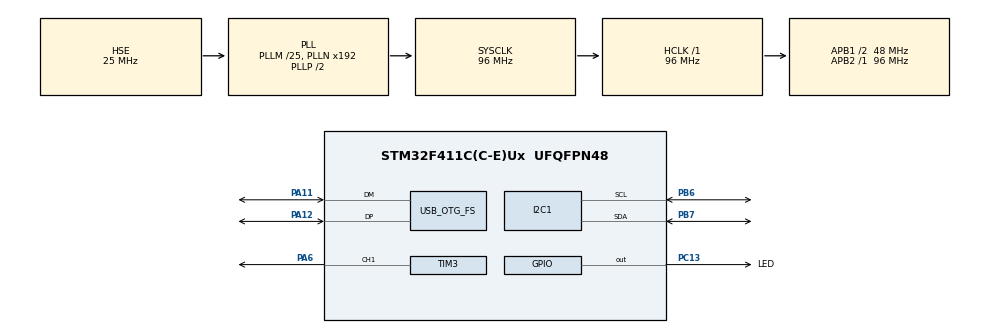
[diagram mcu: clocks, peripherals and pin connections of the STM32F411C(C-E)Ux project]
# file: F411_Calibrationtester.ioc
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I2C1.I2C_Mode=I2C_Standard
Mcu.Family=STM32F4
Mcu.Name=STM32F411C(C-E)Ux
Mcu.Package=UFQFPN48
NVIC.OTG_FS_IRQn=true\:0\:0\:false\:false\:true\:false\:true\:true
NVIC.PriorityGroup=NVIC_PRIORITYGROUP_4
PA11.Mode=Device_Only
PA11.Signal=USB_OTG_FS_DM
PA12.Mode=Device_Only
PA12.Signal=USB_OTG_FS_DP
PA13.Mode=Serial_Wire
PA13.Signal=SYS_JTMS-SWDIO
PA14.Mode=Serial_Wire
PA14.Signal=SYS_JTCK-SWCLK
PA6.Signal=S_TIM3_CH1
PB6.Mode=I2C
PB6.Signal=I2C1_SCL
PB7.Mode=I2C
PB7.Signal=I2C1_SDA
PC13-ANTI_TAMP.GPIO_Label=LED
PC13-ANTI_TAMP.Signal=GPIO_Output
PH0\ -\ OSC_IN.Mode=HSE-External-Oscillator
PH0\ -\ OSC_IN.Signal=RCC_OSC_IN
PH1\ -\ OSC_OUT.Mode=HSE-External-Oscillator
PH1\ -\ OSC_OUT.Signal=RCC_OSC_OUT
ProjectManager.HeapSize=0x200
ProjectManager.StackSize=0x400
ProjectManager.TargetToolchain=STM32CubeIDE
RCC.48MHZClocksFreq_Value=48000000
RCC.AHBFreq_Value=96000000
RCC.APB1CLKDivider=RCC_HCLK_DIV2
RCC.APB1Freq_Value=48000000
RCC.APB1TimFreq_Value=96000000
RCC.APB2Freq_Value=96000000
RCC.APB2TimFreq_Value=96000000
RCC.CortexFreq_Value=96000000
RCC.HCLKFreq_Value=96000000
RCC.HSE_VALUE=25000000
RCC.HSI_VALUE=16000000
RCC.LSE_VALUE=32768
RCC.PLLM=25
RCC.SYSCLKFreq_VALUE=96000000
RCC.SYSCLKSource=RCC_SYSCLKSOURCE_PLLCLK
RCC.VCOOutputFreq_Value=192000000
SH.S_TIM3_CH1.0=TIM3_CH1,PWM Generation1 CH1
TIM3.Channel-PWM\ Generation1\ CH1=TIM_CHANNEL_1
TIM3.OCPolarity_1=TIM_OCPOLARITY_HIGH
TIM3.Period=40000-1
TIM3.Prescaler=48-1
TIM3.Pulse-PWM\ Generation1\ CH1=4915-1
USB_DEVICE.CLASS_NAME_FS=CDC
USB_DEVICE.VirtualMode=Cdc
USB_DEVICE.VirtualModeFS=Cdc_FS
USB_OTG_FS.VirtualMode=Device_Only
VP_TIM3_VS_ClockSourceINT.Mode=Internal
VP_USB_DEVICE_VS_USB_DEVICE_CDC_FS.Mode=CDC_FS
board=custom

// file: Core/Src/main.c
/* USER CODE BEGIN Header */
/**
 ******************************************************************************
 * @file           : main.c
 * @brief          : Main program body
 ******************************************************************************
 * @attention
 *
 * Copyright (c) 2024 STMicroelectronics.
 * All rights reserved.
 *
 * This software is licensed under terms that can be found in the LICENSE file
 * in the root directory of this software component.
 * If no LICENSE file comes with this software, it is provided AS-IS.
 *
 ******************************************************************************
 */
/* USER CODE END Header */
#include "main.h"
#include "usb_device.h"

/* USER CODE BEGIN Includes */

#include "string.h"
#include "usbd_cdc_if.h"
//#include "as5600.h"

/* USER CODE END Includes */

/* USER CODE BEGIN PD */

#define AS5600ADRESS 0x36
#define AS5600RAWANGLE 0x0C
#define AS5600MAGNITUDE 0x0D

#define BASEK 11.1111111f
#define BASED 3000.0f

#define CALIBK 1.0f
#define CALIBD 0.0f

/* USER CODE END PD */

I2C_HandleTypeDef hi2c1;

TIM_HandleTypeDef htim3;

/* USER CODE BEGIN PV */

uint16_t num_steps = 20;
uint8_t check_bothsides = 1;
float angle1 = -135.0f;
float angle2 = 135.0f;

float *angles;
uint16_t *readValues;
float *readAngles;

/* USER CODE END PV */

void SystemClock_Config(void);
static void MX_GPIO_Init(void);
static void MX_I2C1_Init(void);
static void MX_TIM3_Init(void);

/* USER CODE BEGIN 0 */
void findRightMagnitude() {
	HAL_GPIO_WritePin(LED_GPIO_Port, LED_Pin, GPIO_PIN_SET);
	uint8_t found = 0;
	uint16_t foundcounter = 0;
	uint16_t treshholdcounter = 10;
	uint16_t minvalue = 5;
	uint16_t maxvalue = 4091;
	while (found != 1) {
		uint16_t tempbuffer = 0;
		HAL_I2C_Mem_Read(&hi2c1, AS5600ADRESS, AS5600MAGNITUDE, I2C_MEMADD_SIZE_8BIT, (uint8_t*)&tempbuffer, 2, HAL_MAX_DELAY);
		tempbuffer = tempbuffer & 0x0FFF;
		if(tempbuffer >= minvalue && tempbuffer <= maxvalue) {
			foundcounter++;
			if(foundcounter >= 3) {
				HAL_GPIO_WritePin(LED_GPIO_Port, LED_Pin, GPIO_PIN_RESET);
			}
			if(foundcounter >= treshholdcounter) {
				found = 1;
			}
		} else {
			HAL_GPIO_WritePin(LED_GPIO_Port, LED_Pin, GPIO_PIN_SET);
			foundcounter = 0;
		}
		HAL_Delay(100);
	}
	HAL_GPIO_WritePin(LED_GPIO_Port, LED_Pin, GPIO_PIN_RESET);
}
uint16_t readAngle() {
	uint16_t tempbuffer = 0;
	HAL_I2C_StateTypeDef tempstatus = HAL_I2C_STATE_ERROR;
	while (tempstatus != HAL_I2C_STATE_READY) {
		tempstatus = HAL_I2C_Mem_Read(&hi2c1, AS5600ADRESS, AS5600RAWANGLE, I2C_MEMADD_SIZE_8BIT, (uint8_t*)&tempbuffer, 2, HAL_MAX_DELAY);
	}
	tempbuffer = tempbuffer & 0x0FFF;
	//	uint16_t value = (tempbuffer[0] << 8) | tempbuffer[1];

	return tempbuffer;
}

float rawAngleToDegrees(uint16_t rawAngle) {
	return (float)rawAngle * 360.0f / 4096.0f;
}

uint16_t getCCRforAngle(float angle) {
	float tempCCR = angle * BASEK + BASED + 0.5f;

	tempCCR = tempCCR * CALIBK + CALIBD + 0.5f;

	return (uint16_t)(tempCCR);
}

void setAngle(float newAngle) {
	htim3.Instance->CCR1 = getCCRforAngle(newAngle);
}

/* USER CODE END 0 */

int main(void)
{

	/* MCU Configuration--------------------------------------------------------*/

	/* Reset of all peripherals, Initializes the Flash interface and the Systick. */
	HAL_Init();

	/* Configure the system clock */
	SystemClock_Config();

	/* Initialize all configured peripherals */
	MX_GPIO_Init();
	MX_I2C1_Init();
	MX_TIM3_Init();
	MX_USB_DEVICE_Init();
	/* USER CODE BEGIN 2 */

	HAL_GPIO_WritePin(LED_GPIO_Port, LED_Pin, GPIO_PIN_SET);

	findRightMagnitude();

	HAL_TIM_PWM_Start(&htim3, TIM_CHANNEL_1);

	if (check_bothsides == 1) {
		angles = malloc(sizeof(float) * num_steps * 2 - 1);
		readValues = malloc(sizeof(uint16_t) * num_steps * 2 - 1);
		readAngles = malloc(sizeof(float) * num_steps * 2 - 1);
	} else {
		angles = malloc(sizeof(float) * num_steps);
		readValues = malloc(sizeof(uint16_t) * num_steps);
		readAngles = malloc(sizeof(float) * num_steps);
	}

	float minangle = angle1;
	float maxangle = angle2;
	if (angle1 > angle2) {
		minangle = angle2;
		maxangle = angle1;
	}

	for(uint16_t i=0; i<num_steps; i++) {
		angles[i] = minangle + i * (maxangle - minangle) / (num_steps-1);
	}
	if (check_bothsides == 1) {
		for(uint16_t i=1; i<num_steps; i++) {
			angles[num_steps + i -1] = minangle + (num_steps - 1 - i) * (maxangle - minangle) / (num_steps-1);
		}
	}

	setAngle(minangle);
	HAL_Delay(3000);

	uint16_t laststep = num_steps;
	if (check_bothsides == 1) {
		laststep = laststep * 2 - 1;
	}
	for(uint16_t i=0; i<laststep; i++) {
		setAngle(angles[i]);
		HAL_Delay(500);
		readValues[i] = readAngle();
		readAngles[i] = rawAngleToDegrees(readValues[i]);
	}

	uint8_t buffer[500] = {0};
	char tempbuffer[20];
	for(uint16_t i=0; i<laststep; i++) {
		sprintf(tempbuffer, "%.1f,%d,%.2f\n", angles[i], readValues[i], readAngles[i]);
		strcat((char*)buffer, tempbuffer);
	}

	CDC_Transmit_FS(buffer, strlen((char*)buffer));

	/* USER CODE END 2 */

	/* Infinite loop */
	while (1)
	{

	}
}

void SystemClock_Config(void)
{
	RCC_OscInitTypeDef RCC_OscInitStruct = {0};
	RCC_ClkInitTypeDef RCC_ClkInitStruct = {0};

	/** Configure the main internal regulator output voltage
	 */
	__HAL_RCC_PWR_CLK_ENABLE();
	__HAL_PWR_VOLTAGESCALING_CONFIG(PWR_REGULATOR_VOLTAGE_SCALE1);

	/** Initializes the RCC Oscillators according to the specified parameters
	 * in the RCC_OscInitTypeDef structure.
	 */
	RCC_OscInitStruct.OscillatorType = RCC_OSCILLATORTYPE_HSE;
	RCC_OscInitStruct.HSEState = RCC_HSE_ON;
	RCC_OscInitStruct.PLL.PLLState = RCC_PLL_ON;
	RCC_OscInitStruct.PLL.PLLSource = RCC_PLLSOURCE_HSE;
	RCC_OscInitStruct.PLL.PLLM = 25;
	RCC_OscInitStruct.PLL.PLLN = 192;
	RCC_OscInitStruct.PLL.PLLP = RCC_PLLP_DIV2;
	RCC_OscInitStruct.PLL.PLLQ = 4;
	if (HAL_RCC_OscConfig(&RCC_OscInitStruct) != HAL_OK)
	{
		Error_Handler();
	}

	/** Initializes the CPU, AHB and APB buses clocks
	 */
	RCC_ClkInitStruct.ClockType = RCC_CLOCKTYPE_HCLK|RCC_CLOCKTYPE_SYSCLK
			|RCC_CLOCKTYPE_PCLK1|RCC_CLOCKTYPE_PCLK2;
	RCC_ClkInitStruct.SYSCLKSource = RCC_SYSCLKSOURCE_PLLCLK;
	RCC_ClkInitStruct.AHBCLKDivider = RCC_SYSCLK_DIV1;
	RCC_ClkInitStruct.APB1CLKDivider = RCC_HCLK_DIV2;
	RCC_ClkInitStruct.APB2CLKDivider = RCC_HCLK_DIV1;

	if (HAL_RCC_ClockConfig(&RCC_ClkInitStruct, FLASH_LATENCY_3) != HAL_OK)
	{
		Error_Handler();
	}
}

static void MX_I2C1_Init(void)
{

	hi2c1.Instance = I2C1;
	hi2c1.Init.ClockSpeed = 100000;
	hi2c1.Init.DutyCycle = I2C_DUTYCYCLE_2;
	hi2c1.Init.OwnAddress1 = 0;
	hi2c1.Init.AddressingMode = I2C_ADDRESSINGMODE_7BIT;
	hi2c1.Init.DualAddressMode = I2C_DUALADDRESS_DISABLE;
	hi2c1.Init.OwnAddress2 = 0;
	hi2c1.Init.GeneralCallMode = I2C_GENERALCALL_DISABLE;
	hi2c1.Init.NoStretchMode = I2C_NOSTRETCH_DISABLE;
	if (HAL_I2C_Init(&hi2c1) != HAL_OK)
	{
		Error_Handler();
	}

}

static void MX_TIM3_Init(void)
{

	TIM_ClockConfigTypeDef sClockSourceConfig = {0};
	TIM_MasterConfigTypeDef sMasterConfig = {0};
	TIM_OC_InitTypeDef sConfigOC = {0};

	htim3.Instance = TIM3;
	htim3.Init.Prescaler = 48-1;
	htim3.Init.CounterMode = TIM_COUNTERMODE_UP;
	htim3.Init.Period = 40000-1;
	htim3.Init.ClockDivision = TIM_CLOCKDIVISION_DIV1;
	htim3.Init.AutoReloadPreload = TIM_AUTORELOAD_PRELOAD_DISABLE;
	if (HAL_TIM_Base_Init(&htim3) != HAL_OK)
	{
		Error_Handler();
	}
	sClockSourceConfig.ClockSource = TIM_CLOCKSOURCE_INTERNAL;
	if (HAL_TIM_ConfigClockSource(&htim3, &sClockSourceConfig) != HAL_OK)
	{
		Error_Handler();
	}
	if (HAL_TIM_PWM_Init(&htim3) != HAL_OK)
	{
		Error_Handler();
	}
	sMasterConfig.MasterOutputTrigger = TIM_TRGO_RESET;
	sMasterConfig.MasterSlaveMode = TIM_MASTERSLAVEMODE_DISABLE;
	if (HAL_TIMEx_MasterConfigSynchronization(&htim3, &sMasterConfig) != HAL_OK)
	{
		Error_Handler();
	}
	sConfigOC.OCMode = TIM_OCMODE_PWM1;
	sConfigOC.Pulse = 4915-1;
	sConfigOC.OCPolarity = TIM_OCPOLARITY_HIGH;
	sConfigOC.OCFastMode = TIM_OCFAST_DISABLE;
	if (HAL_TIM_PWM_ConfigChannel(&htim3, &sConfigOC, TIM_CHANNEL_1) != HAL_OK)
	{
		Error_Handler();
	}
	HAL_TIM_MspPostInit(&htim3);

}

static void MX_GPIO_Init(void)
{
	GPIO_InitTypeDef GPIO_InitStruct = {0};

	/* GPIO Ports Clock Enable */
	__HAL_RCC_GPIOC_CLK_ENABLE();
	__HAL_RCC_GPIOH_CLK_ENABLE();
	__HAL_RCC_GPIOA_CLK_ENABLE();
	__HAL_RCC_GPIOB_CLK_ENABLE();

	/*Configure GPIO pin Output Level */
	HAL_GPIO_WritePin(LED_GPIO_Port, LED_Pin, GPIO_PIN_RESET);

	/*Configure GPIO pin : LED_Pin */
	GPIO_InitStruct.Pin = LED_Pin;
	GPIO_InitStruct.Mode = GPIO_MODE_OUTPUT_PP;
	GPIO_InitStruct.Pull = GPIO_NOPULL;
	GPIO_InitStruct.Speed = GPIO_SPEED_FREQ_LOW;
	HAL_GPIO_Init(LED_GPIO_Port, &GPIO_InitStruct);

}

void Error_Handler(void)
{
	__disable_irq();
	while (1)
	{
	}
}
